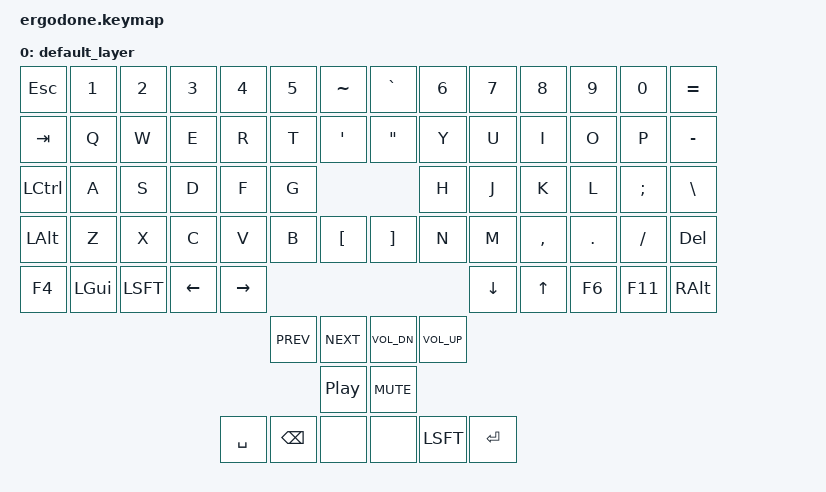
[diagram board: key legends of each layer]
/*
 * Copyright (c) 2020 The ZMK Contributors
 *
 * SPDX-License-Identifier: MIT
 */

#include <behaviors.dtsi>
#include <dt-bindings/zmk/keys.h>
#include <dt-bindings/zmk/bt.h>

#define DEFAULT 0


/ {
    keymap {
        compatible = "zmk,keymap";

        default_layer {
            //              --------------------------------------------------.              ,--------------------------------------------------.
            //              | Esc    |   1  |   2  |   3  |   4  |   5  |  ~   |             | `/~  |   6  |   7  |   8  |   9  |   0  |   =    |
            //              |--------+------+------+------+------+-------------|             |------+------+------+------+------+------+--------|
            //              | Tab    |   Q  |   W  |   E  |   R  |   T  |  '   |             |  "   |   Y  |   U  |   I  |   O  |   P  |   -    |
            //              |--------+------+------+------+------+------|      |             |      |------+------+------+------+------+--------|
            //              | Ctrl   |   A  |   S  |   D  |   F  |   G  |------|             |------|   H  |   J  |   K  |   L  |  ;   |    \   |
            //              |--------+------+------+------+------+------|  {   |             |  }   |------+------+------+------+------+--------|
            //              | LAlt   |   Z  |   X  |   C  |   V  |   B  |  [   |             |  ]   |   N  |   M  |   ,  |   .  |  /   |  Del   |
            //              `--------+------+------+------+------+-------------'             `-------------+------+------+------+------+--------'
            //                | F4 |  Lcmd  | LSft | Left | Right|                                         | Down |  Up  |  F6  |  F11 |  RAlt |
            //                `----------------------------------'                                         `----------------------------------'
            //                                                    ,-------------.            ,-------------.
            //                                                    | Prev | Next |            | Vol- | Vol+ |
            //                                             ,------|------|------|            |------+--------+------.
            //                                             |      |      | Play |            | Mute |        |      |
            //                                             | Space|Backsp|------|            |------|  LSft  |Enter |
            //                                             |      |ace   |  L1  |            |  L2  |        |      |
            //                                             `--------------------'            `----------------------'

            bindings = <
            &kp ESC    &kp N1    &kp N2    &kp N3    &kp N4    &kp N5     &kp TILDE          &kp GRAVE   &kp N6    &kp N7    &kp N8    &kp N9    &kp N0    &kp EQUAL
            &kp TAB    &kp Q     &kp W     &kp E     &kp R     &kp T      &kp QUOT           &kp DQT     &kp Y     &kp U     &kp I     &kp O     &kp P     &kp MINUS
            &kp LCTRL  &kp A     &kp S     &kp D     &kp F     &kp G                                     &kp H     &kp J     &kp K     &kp L     &kp SEMI  &kp BSLH
            &kp LALT   &kp Z     &kp X     &kp C     &kp V     &kp B      &kp LBKT           &kp RBKT    &kp N     &kp M     &kp COMMA &kp DOT   &kp FSLH  &kp DEL
            &kp F4     &kp LGUI  &kp LSFT  &kp LEFT  &kp RIGHT                                                     &kp DOWN  &kp UP    &kp F6    &kp F11   &kp RALT
                                                               &kp C_PREV &kp C_NEXT         &kp C_VOL_DN  &kp C_VOL_UP
                                                                          &kp C_PP           &kp C_MUTE
                                                    &kp SPACE  &kp BSPC   &none              &none         &kp LSFT  &kp RET
            >;
        };
    };
};


